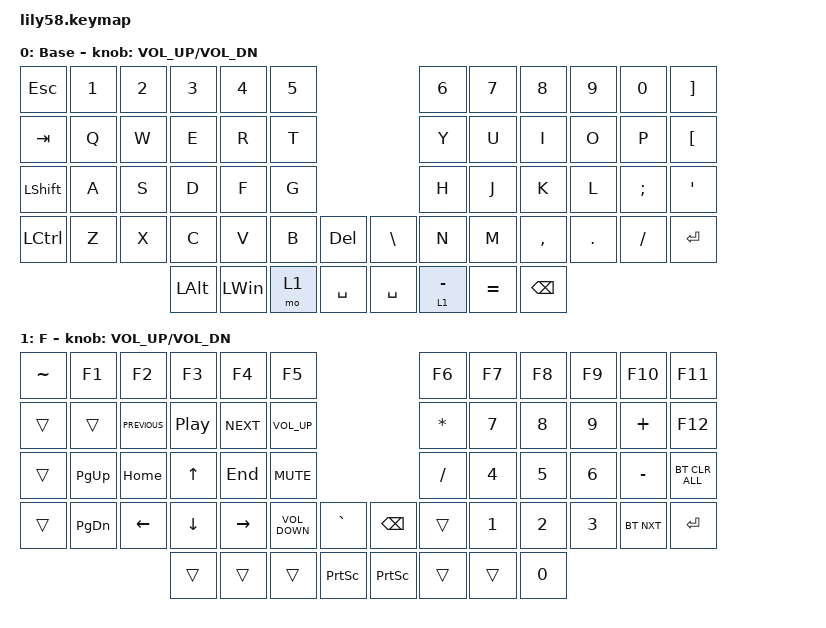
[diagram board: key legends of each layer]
/*
 * Copyright (c) 2020 The ZMK Contributors
 *
 * SPDX-License-Identifier: MIT
 */

#include <behaviors.dtsi>
#include <dt-bindings/zmk/bt.h>
#include <dt-bindings/zmk/keys.h>

/ {
    combos {
        compatible = "zmk,combos";

        DoubleSpace {
            bindings = <&kp LG(ENTER)>;
            key-positions = <53 54>;
        };
    };

    keymap {
        compatible = "zmk,keymap";

        default_layer {
            // ------------------------------------------------------------------------------------------------------------
            // |  ESC  |  1  |  2  |  3   |  4   |  5   |                   |  6   |  7    |  8    |  9   |   0   |   `   |
            // |  TAB  |  Q  |  W  |  E   |  R   |  T   |                   |  Y   |  U    |  I    |  O   |   P   |   -   |
            // |  CTRL |  A  |  S  |  D   |  F   |  G   |                   |  H   |  J    |  K    |  L   |   ;   |   '   |
            // | SHIFT |  Z  |  X  |  C   |  V   |  B   |   "["  |  |  "]"  |  N   |  M    |  ,    |  .   |   /   | SHIFT |
            //                     | ALT  | GUI  | LOWER|  SPACE |  | ENTER | RAISE| BSPC  | GUI   |

            display-name = "Base";
            bindings = <
&kp ESC         &kp N1  &kp N2  &kp N3    &kp N4    &kp N5                          &kp N6       &kp N7     &kp N8         &kp N9   &kp N0    &kp RIGHT_BRACKET
&kp TAB         &kp Q   &kp W   &kp E     &kp R     &kp T                           &kp Y        &kp U      &kp I          &kp O    &kp P     &kp LEFT_BRACKET
&kp LEFT_SHIFT  &kp A   &kp S   &kp D     &kp F     &kp G                           &kp H        &kp J      &kp K          &kp L    &kp SEMI  &kp SQT
&kp LCTRL       &kp Z   &kp X   &kp C     &kp V     &kp B   &kp DEL      &kp BSLH   &kp N        &kp M      &kp COMMA      &kp DOT  &kp FSLH  &kp ENTER
                                &kp LALT  &kp LWIN  &mo 1   &kp SPACE    &kp SPACE  &lt 1 MINUS  &kp EQUAL  &kp BACKSPACE
            >;

            sensor-bindings = <&inc_dec_kp C_VOL_UP C_VOL_DN>;
        };

        lower_layer {
            // ------------------------------------------------------------------------------------------------------------
            // | BTCLR | BT1 | BT2 |  BT3 |  BT4 |  BT5 |                   |      |       |       |      |       |       |
            // |  F1   |  F2 |  F3 |  F4  |  F5  |  F6  |                   |  F7  |  F8   |  F9   |  F10 |  F11  |  F12  |
            // |   `   |  !  |  @  |  #   |  $   |  %   |                   |  ^   |  &    |  *    |  (   |   )   |   ~   |
            // |       |     |     |      |      |      |        |  |       |      |  _    |  +    |  {   |   }   |  "|"  |
            //                     |      |      |      |        |  |       |      |       |       |

            display-name = "F";
            bindings = <
&kp TILDE  &kp F1         &kp F2          &kp F3            &kp F4           &kp F5                                                 &kp F6        &kp F7        &kp F8        &kp F9        &kp F10     &kp F11
&trans     &trans         &kp C_PREVIOUS  &kp C_PLAY_PAUSE  &kp C_NEXT       &kp C_VOLUME_UP                                        &kp ASTERISK  &kp NUMBER_7  &kp NUMBER_8  &kp NUMBER_9  &kp PLUS    &kp F12
&trans     &kp PAGE_UP    &kp HOME        &kp UP_ARROW      &kp END          &kp K_MUTE                                             &kp SLASH     &kp NUMBER_4  &kp N5        &kp NUMBER_6  &kp MINUS   &bt BT_CLR_ALL
&trans     &kp PAGE_DOWN  &kp LEFT_ARROW  &kp DOWN_ARROW    &kp RIGHT_ARROW  &kp C_VOLUME_DOWN  &kp GRAVE          &kp BACKSPACE    &trans        &kp NUMBER_1  &kp NUMBER_2  &kp NUMBER_3  &bt BT_NXT  &kp ENTER
                                          &trans            &trans           &trans             &kp PRINTSCREEN    &kp PRINTSCREEN  &trans        &trans        &kp NUMBER_0
            >;

            sensor-bindings = <&inc_dec_kp C_VOL_UP C_VOL_DN>;
        };
    };
};
